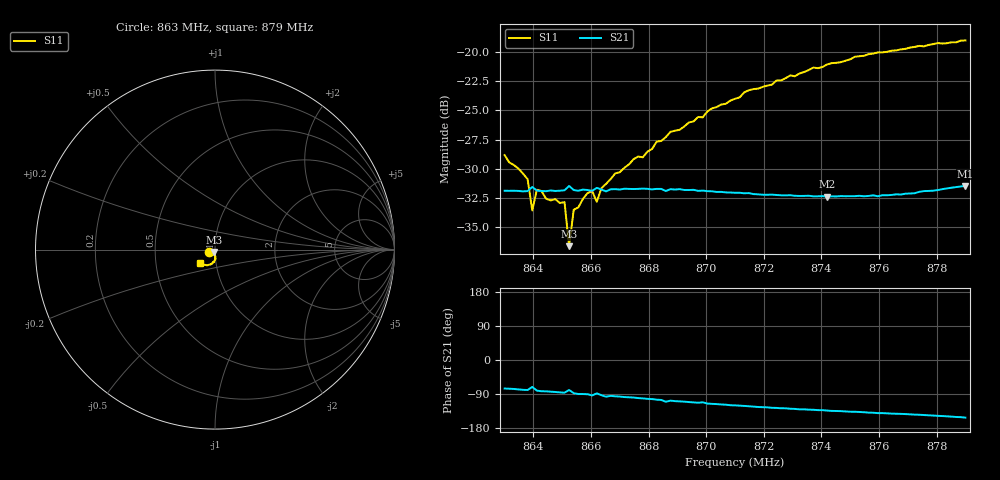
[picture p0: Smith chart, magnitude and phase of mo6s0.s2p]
# HZ S RI R 50
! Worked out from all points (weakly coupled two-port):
!   101 points, 863 MHz to 879 MHz, reference 50 ohm
!   highest |S21| = -31.48 dB at 879 MHz (marker M1); lowest = -32.4 dB at 874.2 MHz (marker M2)
!   lowest |S11| = -36.6 dB at 865.24 MHz (marker M3), VSWR 1.03, Z = 49.5 - j1.38 ohm
!   |S11| at or under -10 dB: start of sweep to end of sweep
!   S12 and S22 are empty: the file has one direction only
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8.63e8  -0.0339 -0.0126  0.00649 -0.0246  0 0  0 0
8.638e8  -0.0254 -0.0129  0.00476 -0.0249  0 0  0 0
8.6396e8  -0.0166 -0.0128  0.00858 -0.025  0 0  0 0
8.6412e8  -0.0218 -0.0135  0.00405 -0.0251  0 0  0 0
8.6444e8  -0.0183 -0.0148  0.00325 -0.0251  0 0  0 0
8.6508e8  -0.0126 -0.0189  0.00168 -0.0255  0 0  0 0
8.6524e8  -0.00488 -0.0139  0.005 -0.0262  0 0  0 0
8.654e8  -0.0107 -0.0182  0.00112 -0.0256  0 0  0 0
8.6572e8  -0.00829 -0.022  9.2e-05 -0.0257  0 0  0 0
8.6604e8  -0.00639 -0.0246  -0.00156 -0.0254  0 0  0 0
8.662e8  -0.00275 -0.0227  0.000919 -0.0262  0 0  0 0
8.6636e8  -0.00588 -0.0254  -0.00129 -0.0257  0 0  0 0
8.6684e8  -0.00275 -0.0301  -0.00258 -0.0257  0 0  0 0
8.6748e8  -8e-05 -0.0348  -0.0041 -0.0256  0 0  0 0
8.678e8  0.0012 -0.0354  -0.0051 -0.0255  0 0  0 0
8.6844e8  0.00181 -0.0416  -0.00691 -0.025  0 0  0 0
8.6876e8  0.0026 -0.0455  -0.00763 -0.0247  0 0  0 0
8.71e8  -0.00379 -0.063  -0.0124 -0.0216  0 0  0 0
8.7372e8  -0.0232 -0.0826  -0.0159 -0.0181  0 0  0 0
8.742e8  -0.0287 -0.0837  -0.0165 -0.0174  0 0  0 0
8.7644e8  -0.0549 -0.0852  -0.0191 -0.0152  0 0  0 0
8.79e8  -0.0843 -0.074  -0.0236 -0.0125  0 0  0 0
